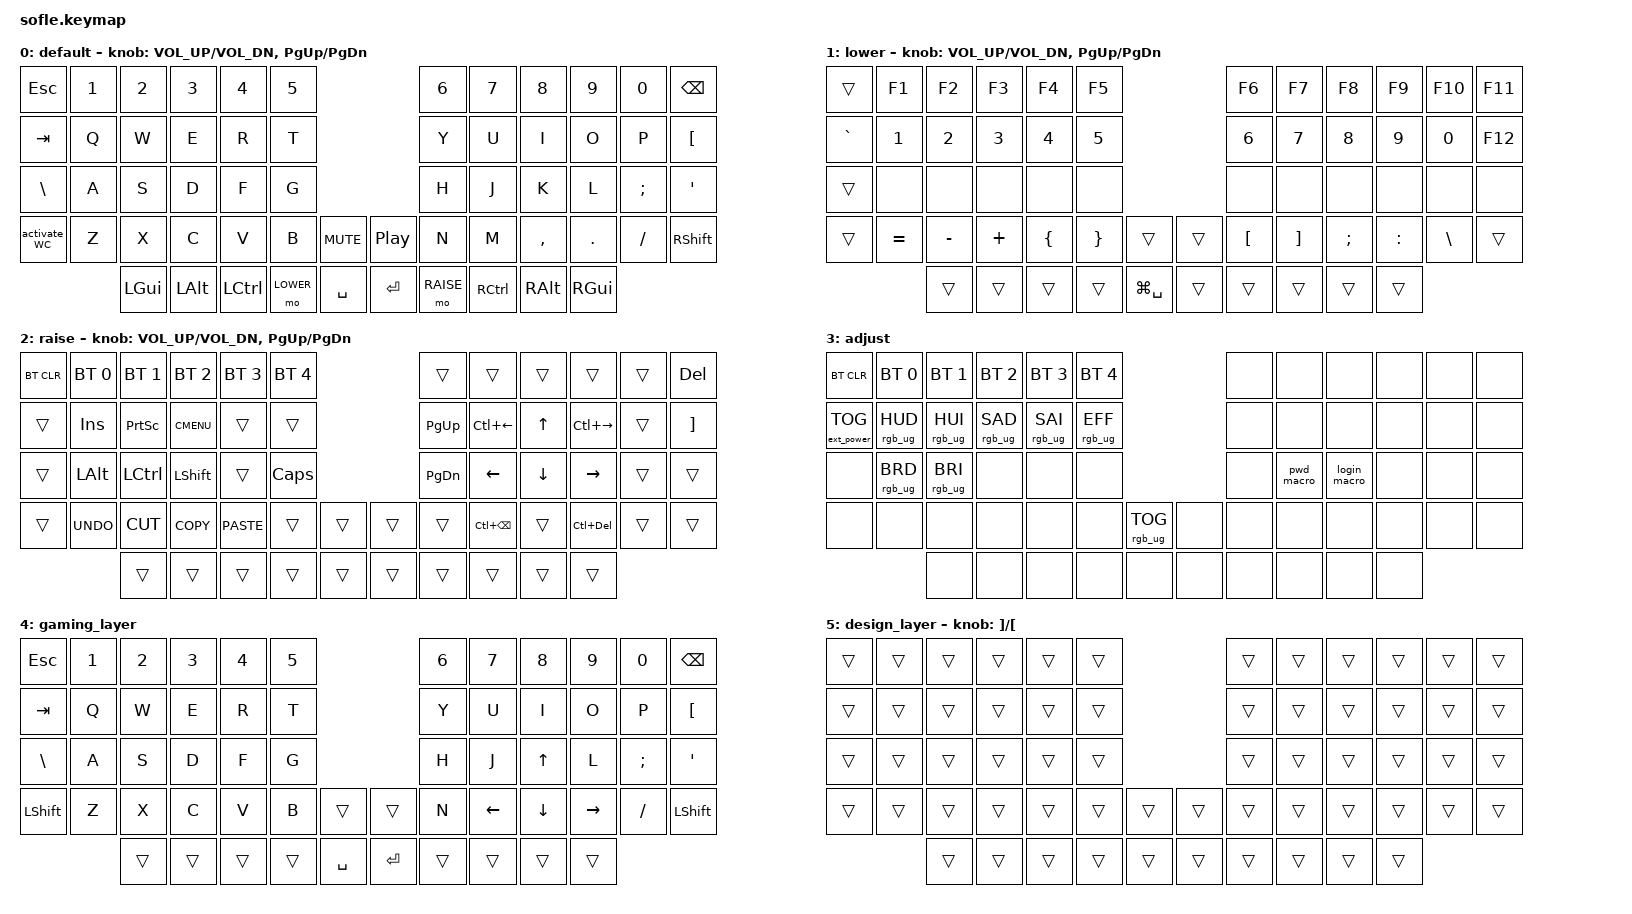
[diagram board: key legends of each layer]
/*
 * Copyright (c) 2020 The ZMK Contributors
 *
 * SPDX-License-Identifier: MIT
 */

#include <behaviors.dtsi>
#include <dt-bindings/zmk/bt.h>
#include <dt-bindings/zmk/ext_power.h>
#include <dt-bindings/zmk/keys.h>
#include <dt-bindings/zmk/rgb.h>

#define BASE 0
#define LOWER 1
#define RAISE 2
#define ADJUST 3

&gresc {
};

/ {
    // Activate ADJUST layer by pressing raise and lower

    conditional_layers {
        compatible = "zmk,conditional-layers";

        adjust_layer {
            if-layers = <LOWER RAISE>;
            then-layer = <ADJUST>;
        };
    };

    macros {
        pwd_macro: pwd_macro {
            compatible = "zmk,behavior-macro";
            #binding-cells = <0>;
            bindings = <&kp LS(K) &kp A &kp Z &kp E &kp N7 &kp N4 &kp N1 &kp N0 &kp COMMA &kp SEMI &kp COLON &kp EXCL &kp N0 &kp N9 &kp N0 &kp N1 &kp N1 &kp N2 &kp N5 &kp N2 &kp N5 &kp N3 &kp N2 &kp ENTER>;
            label = "PWD_MACRO";
        };

        login_macro: login_macro {
            compatible = "zmk,behavior-macro";
            #binding-cells = <0>;
            bindings = <&kp B &kp P &kp DOT &kp N &kp M &kp E &kp S &kp S &kp E &kp L &kp M &kp A &kp N &kp I &kp TAB &pwd_macro>;
            label = "LOGIN_MACRO";
        };
    };

    combos {
        compatible = "zmk,combos";

        pwd {
            bindings = <&pwd_macro>;
            key-positions = <22 14 27>;
        };
    };

    behaviors {
        caps_word: caps_word {
            compatible = "zmk,behavior-caps-word";
            label = "CAPS_WORD";
            #binding-cells = <0>;
            continue-list = <UNDERSCORE MINUS>;
        };

        activate_WC: activate_WC {
            compatible = "zmk,behavior-tap-dance";
            label = "ACTIVATE_WC";
            #binding-cells = <0>;
            bindings = <&kp LSHIFT>, <&caps_word>;
        };
    };

    keymap {
        compatible = "zmk,keymap";

        default_layer {
            display-name = "default";

            // ------------------------------------------------------------------------------------------------------------
            // |   `   |  1  |  2  |  3   |  4   |  5   |                   |  6   |  7    |  8    |  9   |   0   |       |
            // |  ESC  |  Q  |  W  |  E   |  R   |  T   |                   |  Y   |  U    |  I    |  O   |   P   | BKSPC |
            // |  TAB  |  A  |  S  |  D   |  F   |  G   |                   |  H   |  J    |  K    |  L   |   ;   |   '   |
            // | SHIFT |  Z  |  X  |  C   |  V   |  B   |  MUTE  |  |       |  N   |  M    |  ,    |  .   |   /   | SHIFT |
            //               | GUI | ALT  | CTRL | LOWER|  ENTER |  | SPACE | RAISE| CTRL  | ALT   | GUI  |

            bindings = <
&kp ESCAPE     &kp N1  &kp N2    &kp N3    &kp N4     &kp N5                                     &kp N6     &kp N7     &kp N8     &kp N9    &kp N0    &kp BACKSPACE
&kp TAB        &kp Q   &kp W     &kp E     &kp R      &kp T                                      &kp Y      &kp U      &kp I      &kp O     &kp P     &kp LEFT_BRACKET
&kp BACKSLASH  &kp A   &kp S     &kp D     &kp F      &kp G                                      &kp H      &kp J      &kp K      &kp L     &kp SEMI  &kp SQT
&activate_WC   &kp Z   &kp X     &kp C     &kp V      &kp B      &kp C_MUTE    &kp C_PLAY_PAUSE  &kp N      &kp M      &kp COMMA  &kp DOT   &kp FSLH  &kp RSHFT
                       &kp LGUI  &kp LALT  &kp LCTRL  &mo LOWER  &kp SPACE     &kp ENTER         &mo RAISE  &kp RCTRL  &kp RALT   &kp RGUI
            >;

            sensor-bindings = <&inc_dec_kp C_VOL_UP C_VOL_DN &inc_dec_kp PG_UP PG_DN>;
        };

        lower_layer {
            display-name = "lower";

            // TODO: Some binds are waiting for shifted keycode support.
            // ------------------------------------------------------------------------------------------------------------
            // |       |  F1 |  F2 |  F3  |  F4  |  F5  |                   |  F6  |  F7   |  F8   |  F9  |  F10  |  F11  |
            // |   `   |  1  |  2  |  3   |  4   |  5   |                   |  6   |  7    |  8    |  9   |   0   |  F12  |
            // |       |  !  |  @  |  #   |  $   |  %   |                   |  ^   |  &    |  *    |  (   |   )   |   |   |
            // |       |  =  |  -  |  +   |  {   |  }   |        |  |       |  [   |  ]    |  ;    |  :   |   \   |       |
            //               |     |      |      |      |        |  |       |      |       |       |      |

            bindings = <
&trans     &kp F1     &kp F2     &kp F3    &kp F4    &kp F5                             &kp F6    &kp F7    &kp F8    &kp F9     &kp F10   &kp F11
&kp GRAVE  &kp N1     &kp N2     &kp N3    &kp N4    &kp N5                             &kp N6    &kp N7    &kp N8    &kp N9     &kp N0    &kp F12
&trans     &none      &none      &none     &none     &none                              &none     &none     &none     &none      &none     &none
&trans     &kp EQUAL  &kp MINUS  &kp PLUS  &kp LBRC  &kp RBRC  &trans           &trans  &kp LBKT  &kp RBKT  &kp SEMI  &kp COLON  &kp BSLH  &trans
                      &trans     &trans    &trans    &trans    &kp LG(SPACE)    &trans  &trans    &trans    &trans    &trans
            >;

            sensor-bindings = <&inc_dec_kp C_VOL_UP C_VOL_DN &inc_dec_kp PG_UP PG_DN>;
        };

        raise_layer {
            display-name = "raise";

            // ------------------------------------------------------------------------------------------------------------
            // | BTCLR | BT1  | BT2  |  BT3  |  BT4  |  BT5 |                |      |      |       |      |       |       |
            // |       | INS  | PSCR | GUI   |       |      |                | PGUP |      |   ^   |      |       |       |
            // |       | ALT  | CTRL | SHIFT |       | CAPS |                | PGDN |   <- |   v   |  ->  |  DEL  | BKSPC |
            // |       | UNDO | CUT  | COPY  | PASTE |      |      |  |      |      |      |       |      |       |       |
            //                |      |       |       |      |      |  |      |      |      |       |      |

            bindings = <
&bt BT_CLR  &bt BT_SEL 0  &bt BT_SEL 1  &bt BT_SEL 2  &bt BT_SEL 3  &bt BT_SEL 4                    &trans     &trans             &trans    &trans          &trans  &kp DEL
&trans      &kp INS       &kp PSCRN     &kp K_CMENU   &trans        &trans                          &kp PG_UP  &kp LC(LEFT)       &kp UP    &kp LC(RIGHT)   &trans  &kp RBKT
&trans      &kp LALT      &kp LCTRL     &kp LSHFT     &trans        &kp CLCK                        &kp PG_DN  &kp LEFT           &kp DOWN  &kp RIGHT       &trans  &trans
&trans      &kp K_UNDO    &kp K_CUT     &kp K_COPY    &kp K_PASTE   &trans        &trans    &trans  &trans     &kp LC(BACKSPACE)  &trans    &kp LC(DELETE)  &trans  &trans
                          &trans        &trans        &trans        &trans        &trans    &trans  &trans     &trans             &trans    &trans
            >;

            sensor-bindings = <&inc_dec_kp C_VOL_UP C_VOL_DN &inc_dec_kp PG_UP PG_DN>;
        };

        adjust_layer {
            // ----------------------------------------------------------------------------------------------------------------------------
            // | BTCLR  |  BT1    |  BT2    |   BT3   |   BT4   |   BT5   |                  |      |      |       |      |       |       |
            // | EXTPWR | RGB_HUD | RGB_HUI | RGB_SAD | RGB_SAI | RGB_EFF |                  |      |      |       |      |       |       |
            // |        | RGB_BRD | RGB_BRI |         |         |         |                  |      |      |       |      |       |       |
            // |        |         |         |         |         |         | RGB_TOG | |      |      |      |       |      |       |       |
            //                    |         |         |         |         |         | |      |      |      |       |      |

            display-name = "adjust";
            bindings = <
&bt BT_CLR         &bt BT_SEL 0     &bt BT_SEL 1     &bt BT_SEL 2     &bt BT_SEL 3     &bt BT_SEL 4                               &none  &none       &none         &none  &none  &none
&ext_power EP_TOG  &rgb_ug RGB_HUD  &rgb_ug RGB_HUI  &rgb_ug RGB_SAD  &rgb_ug RGB_SAI  &rgb_ug RGB_EFF                            &none  &none       &none         &none  &none  &none
&none              &rgb_ug RGB_BRD  &rgb_ug RGB_BRI  &none            &none            &none                                      &none  &pwd_macro  &login_macro  &none  &none  &none
&none              &none            &none            &none            &none            &none            &rgb_ug RGB_TOG    &none  &none  &none       &none         &none  &none  &none
                                    &none            &none            &none            &none            &none              &none  &none  &none       &none         &none
            >;
        };

        gaming_layer {
            bindings = <
&kp ESC    &kp N1  &kp N2  &kp N3  &kp N4  &kp N5                          &kp N6  &kp N7    &kp N8    &kp N9     &kp N0    &kp BSPC
&kp TAB    &kp Q   &kp W   &kp E   &kp R   &kp T                           &kp Y   &kp U     &kp I     &kp O      &kp P     &kp LBKT
&kp BSLH   &kp A   &kp S   &kp D   &kp F   &kp G                           &kp H   &kp J     &kp UP    &kp L      &kp SEMI  &kp APOS
&kp LSHFT  &kp Z   &kp X   &kp C   &kp V   &kp B   &trans       &trans     &kp N   &kp LEFT  &kp DOWN  &kp RIGHT  &kp FSLH  &kp LSHFT
                   &trans  &trans  &trans  &trans  &kp SPACE    &kp ENTER  &trans  &trans    &trans    &trans
            >;
        };

        design_layer {
            bindings = <
&trans  &trans  &trans  &trans  &trans  &trans                    &trans  &trans  &trans  &trans  &trans  &trans
&trans  &trans  &trans  &trans  &trans  &trans                    &trans  &trans  &trans  &trans  &trans  &trans
&trans  &trans  &trans  &trans  &trans  &trans                    &trans  &trans  &trans  &trans  &trans  &trans
&trans  &trans  &trans  &trans  &trans  &trans  &trans    &trans  &trans  &trans  &trans  &trans  &trans  &trans
                &trans  &trans  &trans  &trans  &trans    &trans  &trans  &trans  &trans  &trans
            >;

            sensor-bindings = <&inc_dec_kp RIGHT_BRACKET LEFT_BRACKET>;
        };
    };
};
